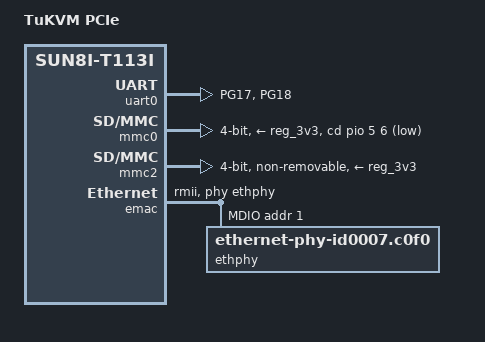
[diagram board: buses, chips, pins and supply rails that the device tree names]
// SPDX-License-Identifier: (GPL-2.0+ OR MIT)
// Copyright (C) 2022 Arm Ltd.

#include <dt-bindings/interrupt-controller/irq.h>

/dts-v1/;

#include "sun8i-t113i.dtsi"
#include "sunxi-t113i-tronlong-tlt113.dtsi"

/ {
	model = "TuKVM PCIe";
	compatible = "tukvm,tukvm-pcie", "allwinner,sun8i-t113i";

	chosen {
		stdout-path = "serial0:115200n8";
	};

	aliases {
		serial0 = &uart0;
		ethernet0 = &emac;
		mmc0 = &mmc0;
		mmc1 = &mmc2;
	};
};

&pio {
	uart0_pg_pins: uart0-pg-pins {
		pins = "PG17", "PG18";
		function = "uart0";
	};
};

&cpu0 {
	cpu-supply = <&reg_vcc_core>;
};

&cpu1 {
	cpu-supply = <&reg_vcc_core>;
};

&uart0 {
	bootph-all;
	pinctrl-0 = <&uart0_pg_pins>;
	pinctrl-names = "default";
	status = "okay";
};

&uart2 {
	status = "disabled";
};

&spi0 {
	status = "disabled";
};

&mmc0 {
	bootph-all;
	pinctrl-0 = <&mmc0_pins>;
	pinctrl-names = "default";
	vmmc-supply = <&reg_3v3>;
	cd-gpios = <&pio 5 6 GPIO_ACTIVE_LOW>; /* PF6 */
	disable-wp;
	bus-width = <4>;
	status = "okay";
};

&mmc2 {
	bootph-all;
    pinctrl-0 = <&mmc2_pins>;
    pinctrl-names = "default";
    vmmc-supply = <&reg_3v3>;
    non-removable;
    disable-wp;
    bus-width = <4>;
    status = "okay";
};

&emac {
	pinctrl-0 = <&rmii_pe_pins>;
	pinctrl-names = "default";
	phy-mode = "rmii";
	phy-handle = <&ethphy>;
	status = "okay";

	mdio {
		ethphy: ethernet-phy@1 {
			reg = <1>;
			compatible = "ethernet-phy-id0007.c0f0",
				     "ethernet-phy-ieee802.3-c22";
			smsc,disable-energy-detect;
		};
	};
};
